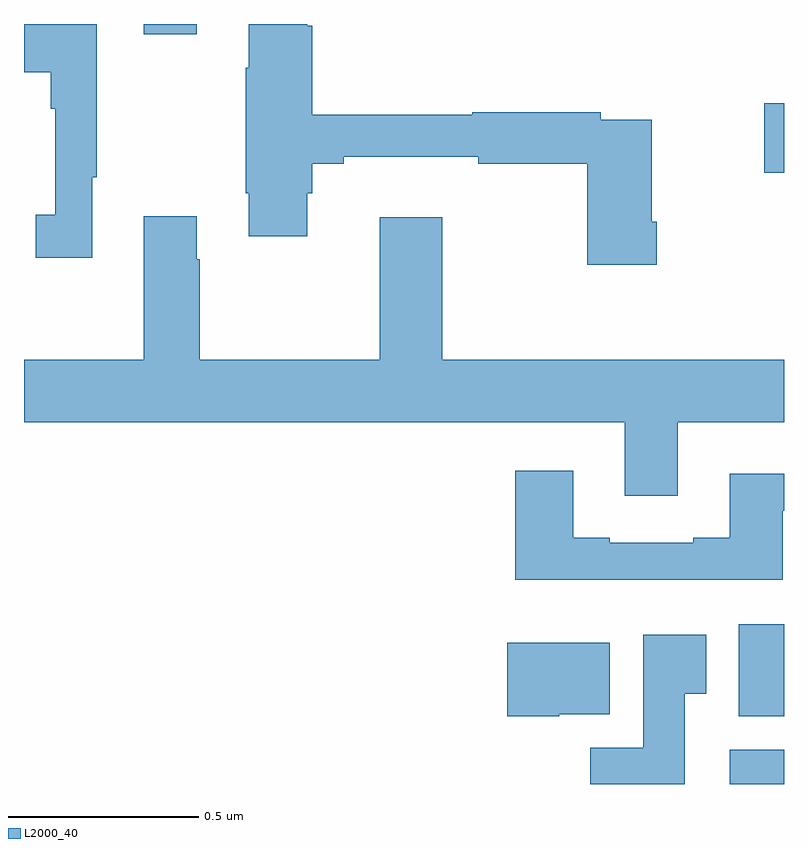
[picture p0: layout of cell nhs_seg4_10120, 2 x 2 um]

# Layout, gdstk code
import gdstk
lib = gdstk.Library(unit=1e-6, precision=1e-09)
def R(c, l, rs):  # rectangles x0, y0, x1, y1
    for r in rs: c.add(gdstk.rectangle(r[:2], r[2:], *l))
def P(c, l, *ps):  # polygons
    for p in ps: c.add(gdstk.Polygon(p, *l))
L2000_40 = (2000, 40)

nhs_seg4_10120 = lib.new_cell('nhs_seg4_10120')
R(nhs_seg4_10120, L2000_40, [(237.857,763.9,238,763.99), (237.881,764.078,238,764.32), (237.948,765.509,238,765.692), (236.315,765.873,236.455,765.9)])
P(nhs_seg4_10120, L2000_40, [(236.179,765.497),(236.191,765.497),(236.191,765.9),(236,765.9),(236,765.773),(236.07,765.773),(236.07,765.677),(236.082,765.677),(236.082,765.398),(236.031,765.398),(236.031,765.285),(236.179,765.285)],
  [(237.665,765.379),(237.652,765.379),(237.652,765.648),(237.518,765.648),(237.518,765.668),(237.18,765.668),(237.18,765.661),(236.759,765.661),(236.759,765.896),(236.746,765.896),(236.746,765.9),(236.591,765.9),(236.591,765.785),(236.584,765.785),(236.584,765.454),(236.591,765.454),(236.591,765.342),(236.746,765.342),(236.746,765.455),(236.759,765.455),(236.759,765.532),(236.842,765.532),(236.842,765.551),(237.196,765.551),(237.196,765.532),(237.482,765.532),(237.482,765.267),(237.665,765.267)],
  [(237.721,764.852),(238,764.852),(238,765.016),(237.1,765.016),(237.1,765.391),(236.936,765.391),(236.936,765.016),(236.463,765.016),(236.463,765.281),(236.455,765.281),(236.455,765.394),(236.315,765.394),(236.315,765.016),(236,765.016),(236,764.852),(237.581,764.852),(237.581,764.658),(237.721,764.658)],
  [(237.997,764.619),(238,764.619),(238,764.716),(237.857,764.716),(237.857,764.548),(237.761,764.548),(237.761,764.535),(237.541,764.535),(237.541,764.548),(237.445,764.548),(237.445,764.725),(237.293,764.725),(237.293,764.438),(237.997,764.438)],
  [(237.739,764.137),(237.796,764.137),(237.796,764.293),(237.629,764.293),(237.629,763.996),(237.49,763.996),(237.49,763.9),(237.739,763.9)],
  [(237.408,764.084),(237.541,764.084),(237.541,764.272),(237.272,764.272),(237.272,764.078),(237.408,764.078)])

lib.write_gds('nhs_seg4_10120.gds')
